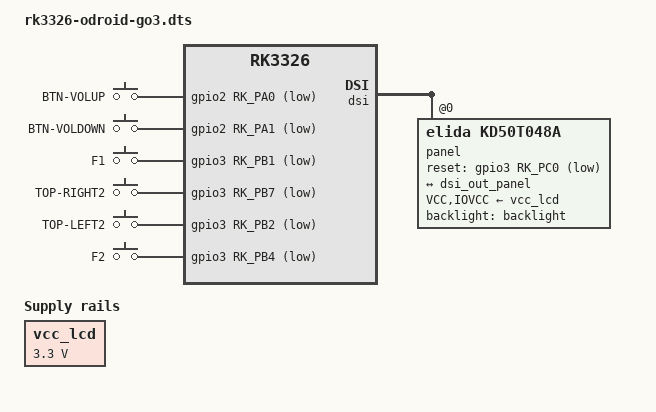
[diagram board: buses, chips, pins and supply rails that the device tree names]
// SPDX-License-Identifier: (GPL-2.0+ OR MIT)
/*
 * Copyright (c) 2020 Fuzhou Rockchip Electronics Co., Ltd
 */

#include "rk3326-odroid-go2.dtsi"

&backlight {
	pwms = <&pwm1 0 40000 0>;
	power-supply = <&vcc_lcd>;
	brightness-levels = <
		  0   1   2   3   4   5   6   7
		  8   9  10  11  12  13  14  15
		 16  17  18  19  20  21  22  23
		 24  25  26  27  28  29  30  31
		 32  33  34  35  36  37  38  39
		 40  41  42  43  44  45  46  47
		 48  49  50  51  52  53  54  55
		 56  57  58  59  60  61  62  63
		 64  65  66  67  68  69  70  71
		 72  73  74  75  76  77  78  79
		 80  81  82  83  84  85  86  87
		 88  89  90  91  92  93  94  95
		 96  97  98  99 100 101 102 103
		104 105 106 107 108 109 110 111
		112 113 114 115 116 117 118 119
		120 121 122 123 124 125 126 127
		128 129 130 131 132 133 134 135
		136 137 138 139 140 141 142 143
		144 145 146 147 148 149 150 151
		152 153 154 155 156 157 158 159
		160 >;
	default-brightness-level = <80>;
};

&chosen {
	stdout-path = "serial1:115200n8";
};

&dsi {
        panel@0 {
		compatible = "elida,kd50t048a";
		reg = <0>;
		backlight = <&backlight>;
		VCC-supply = <&vcc_lcd>;
		IOVCC-supply = <&vcc_lcd>;
		reset-gpios = <&gpio3 RK_PC0 GPIO_ACTIVE_LOW>;

		port {
			dsi_in_panel: endpoint {
				remote-endpoint = <&dsi_out_panel>;
			};
		};
	};
};

&gpio_keys {
	sw9 {
		gpios = <&gpio2 RK_PA0 GPIO_ACTIVE_LOW>;
		label = "BTN-VOLUP";
		linux,code = <KEY_VOLUMEUP>;
	};
	sw10 {
		gpios = <&gpio2 RK_PA1 GPIO_ACTIVE_LOW>;
		label = "BTN-VOLDOWN";
		linux,code = <KEY_VOLUMEDOWN>;
	};
	sw19 {
		gpios = <&gpio3 RK_PB1 GPIO_ACTIVE_LOW>;
		label = "F1";
		linux,code = <BTN_TRIGGER_HAPPY1>;
	};
	sw20 {
		gpios = <&gpio3 RK_PB7 GPIO_ACTIVE_LOW>;
		label = "TOP-RIGHT2";
		linux,code = <BTN_TR2>;
	};

	sw21 {
		gpios = <&gpio3 RK_PB2 GPIO_ACTIVE_LOW>;
		label = "TOP-LEFT2";
		linux,code = <BTN_TL2>;
	};
	sw22 {
		gpios = <&gpio3 RK_PB4 GPIO_ACTIVE_LOW>;
		label = "F2";
		linux,code = <BTN_TRIGGER_HAPPY2>;
        };
};

&vcc_lcd {
	regulator-min-microvolt = <3300000>;
	regulator-max-microvolt = <3300000>;
	regulator-state-mem {
		regulator-off-in-suspend;
		regulator-suspend-microvolt = <3300000>;
	};
};
